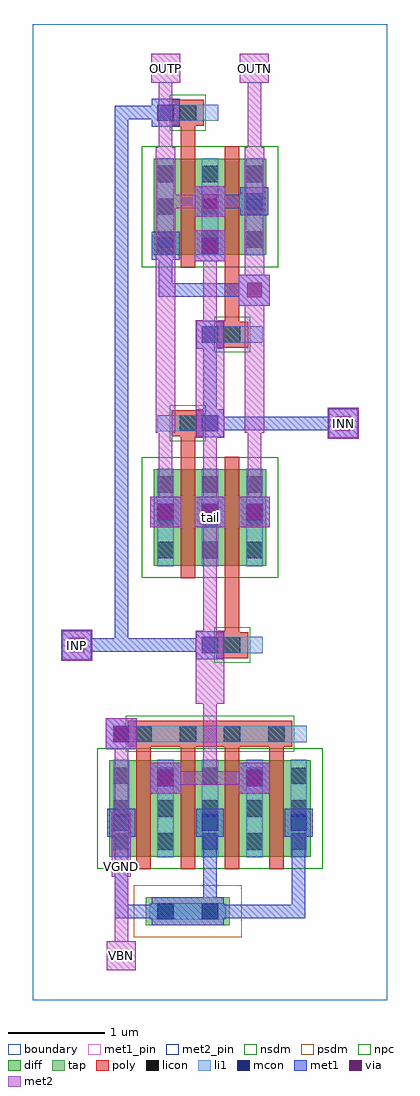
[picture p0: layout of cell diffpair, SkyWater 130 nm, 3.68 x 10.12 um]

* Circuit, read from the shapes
.subckt diffpair INN INP OUTN OUTP VBN VGND tail
XM1 tail VBN VGND VGND sky130_fd_pr__nfet_01v8 w=1 l=0.15 m=4
XM2 tail INN OUTP VGND sky130_fd_pr__nfet_01v8 w=1 l=0.15 m=2
XM3 tail INP OUTN VGND sky130_fd_pr__nfet_01v8 w=1 l=0.15 m=2
.ends

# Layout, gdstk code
import gdstk
lib = gdstk.Library(unit=1e-6, precision=1e-09)
def R(c, l, rs):  # rectangles x0, y0, x1, y1
    for r in rs: c.add(gdstk.rectangle(r[:2], r[2:], *l))
def A(c, l, x, y, w, h, nx, ny, dx, dy):  # array of equal rectangles
    R(c, l, [(x+i*dx, y+j*dy, x+i*dx+w, y+j*dy+h) for i in range(nx) for j in range(ny)])
diff = (65, 20)
tap = (65, 44)
poly = (66, 20)
licon = (66, 44)
li1 = (67, 20)
mcon = (67, 44)
met1_pin = (68, 16)
met1 = (68, 20)
via = (68, 44)
met2_pin = (69, 16)
met2 = (69, 20)
nsdm = (93, 44)
psdm = (94, 20)
npc = (95, 20)
boundary = (235, 4)

diffpair = lib.new_cell('diffpair')
R(diffpair, diff, [(0.795,1.485,2.885,2.485), (1.255,4.505,2.425,5.505), (1.255,7.725,2.425,8.725)])
R(diffpair, tap, [(1.175,0.775,2.045,1.065)])
A(diffpair, poly, 1.075, 1.355, 0.15, 1.405, 4, 1, 0.46, 0)
R(diffpair, poly, [(0.985,2.625,2.695,2.895), (1.905,3.545,2.235,3.815), (1.995,3.68,2.145,5.635), (1.535,4.375,1.685,5.98), (1.445,5.845,1.775,6.115), (1.905,6.765,2.235,7.035), (1.995,6.9,2.145,8.855), (1.535,7.595,1.685,9.2), (1.445,9.065,1.775,9.335)])
A(diffpair, licon, 0.835, 1.56, 0.17, 0.17, 5, 3, 0.46, 0.34)
A(diffpair, licon, 1.065, 2.675, 0.17, 0.17, 4, 1, 0.46, 0)
A(diffpair, licon, 1.295, 4.58, 0.17, 0.17, 3, 3, 0.46, 0.34)
A(diffpair, licon, 1.295, 7.8, 0.17, 0.17, 3, 3, 0.46, 0.34)
R(diffpair, licon, [(1.295,0.835,1.465,1.005), (1.755,0.835,1.925,1.005), (1.985,3.595,2.155,3.765), (1.525,5.895,1.695,6.065), (1.985,6.815,2.155,6.985), (1.525,9.115,1.695,9.285)])
A(diffpair, li1, 0.835, 1.48, 0.17, 1.01, 5, 1, 0.46, 0)
A(diffpair, li1, 1.295, 4.5, 0.17, 1.01, 3, 2, 0.46, 3.22)
R(diffpair, li1, [(1.215,0.835,2.005,1.005), (0.835,2.675,2.845,2.845), (1.755,3.595,2.385,3.765), (1.295,5.895,1.925,6.065), (1.755,6.815,2.385,6.985), (1.295,9.115,1.925,9.285)])
A(diffpair, mcon, 0.835, 1.755, 0.17, 0.17, 3, 1, 0.92, 0)
A(diffpair, mcon, 1.295, 4.975, 0.17, 0.17, 3, 1, 0.46, 0)
A(diffpair, mcon, 1.755, 5.895, 0.17, 0.17, 1, 3, 0, 0.92)
R(diffpair, mcon, [(1.295,0.835,1.465,1.005), (1.755,0.835,1.925,1.005), (1.295,2.215,1.465,2.385), (2.215,2.215,2.385,2.385), (0.835,2.675,1.005,2.845), (1.755,3.595,1.925,3.765), (1.295,7.735,1.465,7.905), (2.215,8.195,2.385,8.365), (1.295,9.115,1.465,9.285)])
R(diffpair, met1_pin, [(0.85,0.85,0.99,1.91)])
A(diffpair, met1, 0.85, 0.85, 0.14, 1.06, 3, 1, 0.92, 0)
A(diffpair, met1, 0.775, 1.695, 0.29, 0.29, 3, 1, 0.92, 0)
A(diffpair, met1, 1.22, 4.9, 0.32, 0.32, 3, 1, 0.46, 0)
A(diffpair, met1, 1.235, 4.915, 0.29, 0.29, 3, 1, 0.46, 0)
A(diffpair, met1, 1.695, 5.835, 0.29, 0.29, 1, 3, 0, 0.92)
R(diffpair, met1, [(1.235,0.775,1.985,1.065), (0.85,0.85,1.45,0.99), (1.31,0.85,1.91,0.99), (1.31,0.85,1.45,0.99), (1.77,0.85,2.83,0.99), (1.22,2.14,1.54,2.46), (2.14,2.14,2.46,2.46), (1.235,2.155,1.525,2.445), (2.155,2.155,2.445,2.445), (0.76,2.6,1.08,2.92), (0.775,2.615,1.065,2.905), (0.3,3.52,0.62,3.84), (1.695,3.535,1.985,3.825), (0.39,3.61,1.91,3.75), (0.85,3.61,0.99,9.27), (3.06,5.82,3.38,6.14), (1.77,5.91,3.29,6.05), (1.77,5.91,1.91,6.97), (2.14,7.2,2.46,7.52), (1.31,7.29,2.37,7.43), (1.31,7.29,1.45,7.89), (1.68,7.66,2,7.98), (1.235,7.675,1.525,7.965), (1.68,8.12,2,8.44), (2.155,8.135,2.445,8.425), (1.77,8.21,2.37,8.35), (1.235,9.055,1.525,9.345), (0.85,9.13,1.45,9.27)])
A(diffpair, via, 1.305, 4.985, 0.15, 0.15, 3, 1, 0.46, 0)
R(diffpair, via, [(1.305,2.225,1.455,2.375), (2.225,2.225,2.375,2.375), (0.845,2.685,0.995,2.835), (0.385,3.605,0.535,3.755), (3.145,5.905,3.295,6.055), (2.225,7.285,2.375,7.435), (1.765,7.745,1.915,7.895), (1.765,8.205,1.915,8.355)])
R(diffpair, met2_pin, [(0.77,0.31,1.07,0.61), (0.31,3.53,0.61,3.83), (3.07,5.83,3.37,6.13), (1.23,9.51,1.53,9.81), (2.15,9.51,2.45,9.81)])
A(diffpair, met2, 1.22, 4.9, 0.32, 0.32, 3, 1, 0.46, 0)
A(diffpair, met2, 1.31, 4.99, 0.14, 1.06, 3, 1, 0.46, 0)
R(diffpair, met2, [(0.77,0.31,1.07,0.61), (0.85,0.39,0.99,1.45), (0.85,0.39,0.99,0.53), (0.82,1.28,1.02,1.94), (0.85,1.77,0.99,2.83), (1.22,2.14,1.54,2.46), (2.14,2.14,2.46,2.46), (1.31,2.23,1.91,2.37), (1.77,2.23,1.91,3.29), (1.77,2.23,2.37,2.37), (0.76,2.6,1.08,2.92), (1.69,3.07,1.99,3.83), (0.3,3.52,0.62,3.84), (0.31,3.53,0.61,3.83), (0.39,3.61,0.53,3.75), (1.77,3.61,1.91,5.13), (3.06,5.82,3.38,6.14), (1.69,5.83,1.99,7.05), (3.07,5.83,3.37,6.13), (1.28,5.88,1.48,8.84), (2.2,5.88,2.4,8.84), (3.15,5.91,3.29,6.05), (1.77,6.83,1.91,7.89), (2.14,7.2,2.46,7.52), (1.68,7.66,2,7.98), (1.68,8.12,2,8.44), (1.31,8.21,1.91,8.35), (1.31,8.67,1.45,9.73), (2.23,8.67,2.37,9.73), (1.23,9.51,1.53,9.81), (2.15,9.51,2.45,9.81), (1.31,9.59,1.45,9.73), (2.23,9.59,2.37,9.73)])
R(diffpair, nsdm, [(0.67,1.36,3.01,2.61), (1.13,4.38,2.55,5.63), (1.13,7.6,2.55,8.85)])
R(diffpair, psdm, [(1.05,0.65,2.17,1.19)])
R(diffpair, npc, [(0.965,2.575,2.715,2.945), (1.885,3.495,2.255,3.865), (1.425,5.795,1.795,6.165), (1.885,6.715,2.255,7.085), (1.425,9.015,1.795,9.385)])
R(diffpair, boundary, [(0,0,3.68,10.12)])
diffpair.add(gdstk.Label('tail', (1.84,5.005), layer=67, texttype=5))
diffpair.add(gdstk.Label('VGND', (0.92,1.38), layer=68, texttype=5))
diffpair.add(gdstk.Label('INP', (0.46,3.68), layer=69, texttype=5))
diffpair.add(gdstk.Label('INN', (3.22,5.98), layer=69, texttype=5))
diffpair.add(gdstk.Label('VBN', (0.92,0.46), layer=69, texttype=5))
diffpair.add(gdstk.Label('OUTP', (1.38,9.66), layer=69, texttype=5))
diffpair.add(gdstk.Label('OUTN', (2.3,9.66), layer=69, texttype=5))
diffpair.add(gdstk.Label('VGND', (0.92,1.38), layer=68, texttype=16))
diffpair.add(gdstk.Label('INP', (0.46,3.68), layer=69, texttype=16))
diffpair.add(gdstk.Label('INN', (3.22,5.98), layer=69, texttype=16))
diffpair.add(gdstk.Label('VBN', (0.92,0.46), layer=69, texttype=16))
diffpair.add(gdstk.Label('OUTP', (1.38,9.66), layer=69, texttype=16))
diffpair.add(gdstk.Label('OUTN', (2.3,9.66), layer=69, texttype=16))

lib.write_gds('diffpair.gds')
